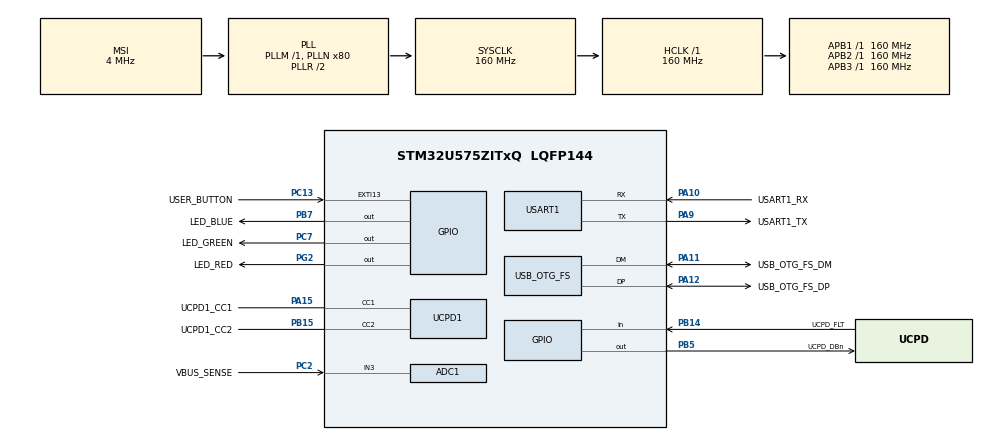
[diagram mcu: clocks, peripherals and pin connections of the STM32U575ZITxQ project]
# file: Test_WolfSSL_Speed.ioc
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ADC1.NbrOfConversion=1
ADC1.Resolution=ADC_RESOLUTION_14B
ADC1.master=1
CORTEX_M33_NS.userName=CORTEX_M33
Mcu.Family=STM32U5
Mcu.Name=STM32U575ZITxQ
Mcu.Package=LQFP144
NVIC.OTG_FS_IRQn=true\:0\:0\:false\:false\:true\:true\:true\:true
NVIC.PriorityGroup=NVIC_PRIORITYGROUP_3
NVIC.RNG_IRQn=true\:0\:0\:false\:false\:true\:true\:true\:true
NVIC.TIM1_UP_IRQn=true\:7\:0\:false\:false\:true\:false\:true\:true
NVIC.TimeBase=TIM1_UP_IRQn
NVIC.TimeBaseIP=TIM1
NVIC.USART1_IRQn=true\:0\:0\:false\:false\:true\:true\:true\:true
PA10.GPIO_Label=USART1_RX
PA10.GPIO_PuPd=GPIO_PULLDOWN
PA10.GPIO_Speed=GPIO_SPEED_FREQ_VERY_HIGH
PA10.Mode=Asynchronous
PA10.Signal=USART1_RX
PA11.GPIO_Label=USB_OTG_FS_DM
PA11.GPIO_Speed=GPIO_SPEED_FREQ_VERY_HIGH
PA11.Mode=Device_Only
PA11.Signal=USB_OTG_FS_DM
PA12.GPIO_Label=USB_OTG_FS_DP
PA12.GPIO_Speed=GPIO_SPEED_FREQ_VERY_HIGH
PA12.Mode=Device_Only
PA12.Signal=USB_OTG_FS_DP
PA13\ (JTMS/SWDIO).Mode=Trace_Asynchronous_SW
PA13\ (JTMS/SWDIO).Signal=DEBUG_JTMS-SWDIO
PA14\ (JTCK/SWCLK).Mode=Trace_Asynchronous_SW
PA14\ (JTCK/SWCLK).Signal=DEBUG_JTCK-SWCLK
PA15\ (JTDI).GPIO_Label=UCPD1_CC1
PA15\ (JTDI).Mode=Sink_AllSignals
PA15\ (JTDI).Signal=UCPD1_CC1
PA9.GPIO_Label=USART1_TX
PA9.GPIO_PuPd=GPIO_PULLDOWN
PA9.GPIO_Speed=GPIO_SPEED_FREQ_VERY_HIGH
PA9.Mode=Asynchronous
PA9.Signal=USART1_TX
PB14.GPIO_Label=UCPD_FLT
PB14.Signal=GPIO_Input
PB15.GPIO_Label=UCPD1_CC2
PB15.Mode=Sink_AllSignals
PB15.Signal=UCPD1_CC2
PB3\ (JTDO/TRACESWO).Mode=Trace_Asynchronous_SW
PB3\ (JTDO/TRACESWO).Signal=DEBUG_JTDO-SWO
PB5.GPIO_Label=UCPD_DBn
PB5.Signal=GPIO_Output
PB7.GPIO_Label=LED_BLUE
PB7.GPIO_ModeDefaultOutputPP=GPIO_MODE_OUTPUT_PP
PB7.GPIO_PuPd=GPIO_PULLUP
PB7.GPIO_Speed=GPIO_SPEED_FREQ_HIGH
PB7.Signal=GPIO_Output
PC13.GPIO_Label=USER_BUTTON
PC13.GPIO_ModeDefaultEXTI=GPIO_MODE_IT_FALLING
PC13.Signal=GPXTI13
PC14-OSC32_IN\ (PC14).Mode=LSE-External-Oscillator
PC14-OSC32_IN\ (PC14).Signal=RCC_OSC32_IN
PC15-OSC32_OUT\ (PC15).Mode=LSE-External-Oscillator
PC15-OSC32_OUT\ (PC15).Signal=RCC_OSC32_OUT
PC2.GPIO_Label=VBUS_SENSE
PC2.Mode=IN3-Single-Ended
PC2.Signal=ADC1_IN3
PC7.GPIO_Label=LED_GREEN
PC7.GPIO_PuPd=GPIO_PULLUP
PC7.GPIO_Speed=GPIO_SPEED_FREQ_HIGH
PC7.Signal=GPIO_Output
PG2.GPIO_Label=LED_RED
PG2.GPIO_ModeDefaultOutputPP=GPIO_MODE_OUTPUT_PP
PG2.GPIO_PuPd=GPIO_PULLUP
PG2.GPIO_Speed=GPIO_SPEED_FREQ_HIGH
PG2.Signal=GPIO_Output
PWR.PowerMode=PWR_SMPS_SUPPLY
ProjectManager.HeapSize=0x200
ProjectManager.StackSize=0x400
ProjectManager.TargetToolchain=STM32CubeIDE
RCC.ADCFreq_Value=16000000
RCC.AHBFreq_Value=160000000
RCC.APB1Freq_Value=160000000
RCC.APB1TimFreq_Value=160000000
RCC.APB2Freq_Value=160000000
RCC.APB2TimFreq_Value=160000000
RCC.APB3Freq_Value=160000000
RCC.CortexFreq_Value=160000000
RCC.DACCLockSelectionVirtual=RCC_DAC1CLKSOURCE_LSI
RCC.EPOD_VALUE=4000000
RCC.HCLKFreq_Value=160000000
RCC.HSE_VALUE=16000000
RCC.HSI48_VALUE=48000000
RCC.HSI_VALUE=16000000
RCC.LSIDIV_VALUE=32000
RCC.MSI_VALUE=4000000
RCC.PLLN=80
RCC.SYSCLKFreq_VALUE=160000000
RCC.SYSCLKSource=RCC_SYSCLKSOURCE_PLLCLK
RCC.USBFreq_Value=48000000
RCC.VCOOutputFreq_Value=320000000
USART1.VirtualMode-Asynchronous=VM_ASYNC
USB_OTG_FS.VirtualMode=Device_Only
VP_ICACHE_VS_ENABLE_ICACHE_MEMORY.Mode=Memoryregions
VP_ICACHE_VS_ICACHE.Mode=DirectMappedCache
VP_LPBAMQUEUE_VS_QUEUE.Mode=QUEUEMODE
VP_LPBAM_VS_SIG1.Mode=SmartRun
VP_LPBAM_VS_SIG4.Mode=LPDMA1
VP_MEMORYMAP_VS_MEMORYMAP.Mode=CurAppReg
VP_PWR_VS_DBSignals.Mode=DisableDeadBatterySignals
VP_PWR_VS_LPOM.Mode=PowerOptimisation
VP_PWR_VS_SECSignals.Mode=Security/Privilege
VP_PWR_Vdda.Mode=isolationVdda
VP_RNG_VS_RNG.Mode=RNG_Activate
VP_RTC_VS_RTC_Activate.Mode=RTC_Enabled
VP_SYS_VS_tim1.Mode=TIM1
VP_wolfSSL.I-CUBE-wolfSSL_VS_wolfSSLJjwolfSSL_5.7.2_5.7.2.Mode=wolfSSLJjwolfSSL
board=NUCLEO-U575ZI-Q
wolfSSL.I-CUBE-wolfSSL.5.7.2.WOLF_CONF_MATH=4
wolfSSL.I-CUBE-wolfSSL.5.7.2.WOLF_CONF_RTOS=2
wolfSSL.I-CUBE-wolfSSL.5.7.2.wolfSSLCcwolfSSLJjwolfCryptJjCore=true
wolfSSL.I-CUBE-wolfSSL.5.7.2.wolfSSLCcwolfSSLJjwolfCryptJjTest=true
wolfSSL.I-CUBE-wolfSSL.5.7.2.wolfSSLCcwolfSSLJjwolfSSLJjCore=true

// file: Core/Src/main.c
/* USER CODE BEGIN Header */
/**
  ******************************************************************************
  * @file           : main.c
  * @brief          : Main program body
  ******************************************************************************
  * @attention
  *
  * Copyright (c) 2024 STMicroelectronics.
  * All rights reserved.
  *
  * This software is licensed under terms that can be found in the LICENSE file
  * in the root directory of this software component.
  * If no LICENSE file comes with this software, it is provided AS-IS.
  *
  ******************************************************************************
  */
/* USER CODE END Header */
#include "main.h"

/* USER CODE BEGIN Includes */
#include <stdio.h>
#include <stdlib.h>
#include <string.h>
#include "wolfssl/options.h"
#include "wolfssl/wolfcrypt/rsa.h"
#include "wolfssl/wolfcrypt/random.h"
#include "wolfssl/wolfcrypt/error-crypt.h"
#include <wolfssl/wolfcrypt/ed25519.h>
/* USER CODE END Includes */

ADC_HandleTypeDef hadc1;

RNG_HandleTypeDef hrng;

RTC_HandleTypeDef hrtc;

UART_HandleTypeDef huart1;

PCD_HandleTypeDef hpcd_USB_OTG_FS;

/* USER CODE BEGIN PV */
RsaKey rsaKey;
byte publicKeyDer[4096];
byte privateKeyDer[4096];
word32 publicKeyDerSz;
word32 privateKeyDerSz;
WC_RNG rng;

ed25519_key ed25519Key;
unsigned char edPubKey[ED25519_PUB_KEY_SIZE];
unsigned char edPrivKey[ED25519_PRV_KEY_SIZE];
word32 edPubKeySz = sizeof(edPubKey);
word32 edPrivKeySz = sizeof(edPrivKey);
/* USER CODE END PV */

void SystemClock_Config(void);
static void SystemPower_Config(void);
static void MX_GPIO_Init(void);
static void MX_ADC1_Init(void);
static void MX_ICACHE_Init(void);
static void MX_UCPD1_Init(void);
static void MX_USART1_UART_Init(void);
static void MX_USB_OTG_FS_PCD_Init(void);
static void MX_RNG_Init(void);
static void MX_RTC_Init(void);
/* USER CODE BEGIN PFP */
int generate_ed25519_key(void);
void send_message(const char *msg);
int init_rng();
int generate_rsa_key();
int rsa_encrypt(byte* input, word32 inputSz, byte* output, word32* outputSz);
int rsa_decrypt(byte* input, word32 inputSz, byte* output, word32* outputSz);
void print_hex(const unsigned char* data, size_t len);

/* Retargets the C library printf function to the USART. */
#include <stdio.h>
#ifdef __GNUC__
int __io_putchar(int ch)
#else
int fputc(int ch, FILE *f)
#endif
{
    HAL_UART_Transmit(&huart1, (uint8_t *)&ch, 1, 0xFFFF);

    return ch;
}
#ifdef __GNUC__
int _write(int file,char *ptr, int len)
{
    int DataIdx;
    for (DataIdx= 0; DataIdx< len; DataIdx++) {
        __io_putchar(*ptr++);
    }
    return len;
}
#endif

/* USER CODE END PFP */

/* USER CODE BEGIN 0 */
int generate_ed25519_key() {
	int ret;

	ret = wc_ed25519_init(&ed25519Key);
	if (ret != 0) {
		printf("wc_ed25519_init failed with error: %d\r\n", ret);
	    return ret;
	}

	/* Generating ED25519 key*/
	ret = wc_ed25519_make_key(&rng, ED25519_KEY_SIZE, &ed25519Key);
	if (ret != 0) {
		printf("wc_ed25519_make_key failed with error: %d\r\n", ret);
		wc_ed25519_free(&ed25519Key);
		return ret;
	}

	/* Extracting public key */
	ret = wc_ed25519_export_public(&ed25519Key, edPubKey, &edPubKeySz);
	if (ret != 0) {
		printf("wc_ed25519_export_public failed with error: %d\r\n", ret);
		wc_ed25519_free(&ed25519Key);
		return ret;
	}
	printf("Public Key: ");
	print_hex(edPubKey, edPubKeySz);

	/* Estrae e stampa la chiave privata */
	ret = wc_ed25519_export_private_only(&ed25519Key, edPrivKey, &edPrivKeySz);
	if (ret != 0) {
		printf("wc_ed25519_export_private_only failed with error: %d\r\n", ret);
		wc_ed25519_free(&ed25519Key);
		return ret;
	}
	printf("Private Key: ");
	print_hex(edPrivKey, edPrivKeySz);

	printf("ED25519 Key Pair generated successfully.\r\n");

	/* RELEASING RESOURCES */
	wc_ed25519_free(&ed25519Key);

	return 0;

}

int rsa_encrypt(byte* input, word32 inputSz, byte* output, word32* outputSz) {
	int ret;
	RsaKey publicKey;
	word32 idx = 0;

	/* INITIALIZING RSA PUBLIC KEY */
	wc_InitRsaKey(&publicKey, NULL);

	/* DECODING PUBLIC KEY */
	ret = wc_RsaPublicKeyDecode(publicKeyDer, &idx, &publicKey, publicKeyDerSz);
	if (ret != 0) {
		send_message("There was an error in decoding Rsa Public Key\r\n");
		return ret;
	} else {
		send_message("Rsa Public Key successfully decoded\r\n");
	}

	/* ENCRYPTING DATA */

	ret = wc_RsaPublicEncrypt(input, inputSz, output, *outputSz, &publicKey, &rng);
	if (ret < 0) {
		send_message("There was an error in encrypting the plaintext\r\n");
		return ret;
	} else {
		send_message("Plaintext has been successfully encrypted\r\n");
	}

	*outputSz = ret;

	/* RELEASING RESOURCES */
	wc_FreeRsaKey(&publicKey);

	return ret;
}

int rsa_decrypt(byte* input, word32 inputSz, byte* output, word32* outputSz) {
	int ret;
	RsaKey privateKey;
	word32 idx = 0;

	/* INITIALIZING RSA PRIVATE KEY */
	wc_InitRsaKey(&privateKey, NULL);

	/* DECODING PUBLIC KEY */
	ret = wc_RsaPrivateKeyDecode(privateKeyDer, &idx, &privateKey, privateKeyDerSz);
	if (ret != 0) {
			send_message("There was an error in decoding Rsa Private Key\r\n");
			return ret;
	} else {
			send_message("Rsa Private Key successfully decoded\r\n");
	}

	/* DECRYPTING DATA */
	wc_RsaSetRNG(&privateKey, &rng);
	ret = wc_RsaPrivateDecrypt(input, inputSz, output, *outputSz, &privateKey);
	if (ret < 0) {
		send_message("There was an error in decrypting the ciphertext\r\n");
		return ret;
	} else {
		send_message("Ciphertext has been successfully decrypted\r\n");
	}

	*outputSz = ret;
	/* RELEASING RESOURCES */
	wc_FreeRsaKey(&privateKey);

	return ret;
}

int generate_rsa_key() {
	int ret;
	long e = 65537;

	// RsaKey initialization
	wc_InitRsaKey(&rsaKey, NULL);

	// generate 2048 bit long private key
	ret = wc_MakeRsaKey(&rsaKey, 2048, e, &rng);
	if( ret != 0 ) {
		  send_message("There was an error in making RSA key\r\n");
	} else {
		  send_message("Your RSA key has been generated!\r\n");
	}

	/* SAVING KEY IN DER FORMAT */
	 privateKeyDerSz = sizeof(privateKeyDer);
	 ret = wc_RsaKeyToDer(&rsaKey, privateKeyDer, privateKeyDerSz);
	 if (ret < 0) {
		 send_message("There was an error in saving RsaKey to DER format\r\n");
		 return ret;
	 } else {
		 send_message("RsaKey successfully saved as DER\r\n");
	 }

	 privateKeyDerSz = ret; // actual size of the key

	 /* EXTRACTING PUBLIC KEY */
	 publicKeyDerSz = sizeof(publicKeyDer);
	 ret = wc_RsaKeyToPublicDer(&rsaKey, publicKeyDer, publicKeyDerSz);
	 if (ret < 0) {
		 send_message("There was an error in extracting public RsaKey\r\n");
		 return ret;
	 } else {
		 send_message("Rsa Public Key successfully extracted\r\n");
	 }

	 publicKeyDerSz = ret;	// actual size of the key
	 printf("RSA PUBLIC KEY:\r\n");
	 print_hex(publicKeyDer, publicKeyDerSz);
//	 for (int i=0; i < publicKeyDerSz; i++) {
//		 printf("%02x", publicKeyDer[i]);
//	 }
//	 printf("\r\n");
	 printf("RSA PRIVATE KEY:\r\n");
	 print_hex(privateKeyDer, privateKeyDerSz);
//	 for (int i=0; i < privateKeyDerSz; i++) {
//	 	 printf("%02x", privateKeyDer[i]);
//	 }
//	 printf("\r\n");

	 return ret;
}

int init_rng() {
	int to_return;
	to_return = wc_InitRng(&rng);
	if (to_return != 0) {
		printf("There was an error in initializing RNG\r\n");
		return to_return;
	} else {
		printf("RNG successfully initialized\r\n");
	}
	return to_return;
}

void send_message(const char *msg) {
	HAL_UART_Transmit(&huart1, (uint8_t *) msg, strlen(msg), HAL_MAX_DELAY);
}

void print_hex(const unsigned char* data, size_t len) {
    for (size_t i = 0; i < len; i++) {
        printf("%02x", data[i]);
    }
    printf("\r\n");
}
/* USER CODE END 0 */

int main(void)
{

  /* USER CODE BEGIN 1 */
	/* Turn off buffers, so I/O occurs immediately */
	    setvbuf(stdin, NULL, _IONBF, 0);
	    setvbuf(stdout, NULL, _IONBF, 0);
	    setvbuf(stderr, NULL, _IONBF, 0);
	/*--------------------*/
	    int ret;
	    byte plaintext[] = "Test encryption data";
	    byte encrypted[256];
	    word32 encryptedSz = sizeof(encrypted);
	    byte decrypted[256];
	    word32 decryptedSz = sizeof(decrypted);

  /* USER CODE END 1 */

  /* MCU Configuration--------------------------------------------------------*/

  /* Reset of all peripherals, Initializes the Flash interface and the Systick. */
  HAL_Init();

  /* Configure the system clock */
  SystemClock_Config();

  /* Configure the System Power */
  SystemPower_Config();

  /* Initialize all configured peripherals */
  MX_GPIO_Init();
  MX_ADC1_Init();
  MX_ICACHE_Init();
  MX_UCPD1_Init();
  MX_USART1_UART_Init();
  MX_USB_OTG_FS_PCD_Init();
  MX_RNG_Init();
  MX_RTC_Init();
  /* USER CODE BEGIN 2 */
  printf("Welcome!\r\n");
//  int to_print = 3;
//  printf("Just testing out printf: %d\r\n", to_print);

    /* INITIALIZING RNG */
  printf("Initializing RNG...\r\n");
    ret = init_rng();
    if (ret != 0) {
  	  return ret;
    }

    /* GENERATING ED25519 KEY */
    generate_ed25519_key();
    /* GENERATING RSA KEY */
    send_message("Generating RSA Key...\r\n");
    generate_rsa_key();

    /* ENCRYPTING */
    ret = rsa_encrypt(plaintext, sizeof(plaintext), encrypted, &encryptedSz);
    if (ret < 0) {
  	  printf("There was an error in encrypting the plaintext\r\n");
  	  return ret;
    } else {
  	  printf("Successfully encrypted your text!\r\n");
  	  printf("CIPHERTEXT:\r\n");
  	  print_hex(encrypted, encryptedSz);
  	  printf("\r\n");
    }

    /* DECRYPTING */
    ret = rsa_decrypt(encrypted, encryptedSz, decrypted, &decryptedSz);
    printf("PLAINTEXT:\r\n");
    printf("%s", decrypted);
    printf("\r\n");
  /* USER CODE END 2 */

  /* Infinite loop */
  while (1)
  {

  }
}

void SystemClock_Config(void)
{
  RCC_OscInitTypeDef RCC_OscInitStruct = {0};
  RCC_ClkInitTypeDef RCC_ClkInitStruct = {0};

  /** Configure the main internal regulator output voltage
  */
  if (HAL_PWREx_ControlVoltageScaling(PWR_REGULATOR_VOLTAGE_SCALE1) != HAL_OK)
  {
    Error_Handler();
  }

  /** Initializes the CPU, AHB and APB buses clocks
  */
  RCC_OscInitStruct.OscillatorType = RCC_OSCILLATORTYPE_HSI48|RCC_OSCILLATORTYPE_HSI
                              |RCC_OSCILLATORTYPE_LSI|RCC_OSCILLATORTYPE_MSI;
  RCC_OscInitStruct.HSIState = RCC_HSI_ON;
  RCC_OscInitStruct.HSI48State = RCC_HSI48_ON;
  RCC_OscInitStruct.HSICalibrationValue = RCC_HSICALIBRATION_DEFAULT;
  RCC_OscInitStruct.LSIState = RCC_LSI_ON;
  RCC_OscInitStruct.MSIState = RCC_MSI_ON;
  RCC_OscInitStruct.MSICalibrationValue = RCC_MSICALIBRATION_DEFAULT;
  RCC_OscInitStruct.MSIClockRange = RCC_MSIRANGE_4;
  RCC_OscInitStruct.LSIDiv = RCC_LSI_DIV1;
  RCC_OscInitStruct.PLL.PLLState = RCC_PLL_ON;
  RCC_OscInitStruct.PLL.PLLSource = RCC_PLLSOURCE_MSI;
  RCC_OscInitStruct.PLL.PLLMBOOST = RCC_PLLMBOOST_DIV1;
  RCC_OscInitStruct.PLL.PLLM = 1;
  RCC_OscInitStruct.PLL.PLLN = 80;
  RCC_OscInitStruct.PLL.PLLP = 2;
  RCC_OscInitStruct.PLL.PLLQ = 2;
  RCC_OscInitStruct.PLL.PLLR = 2;
  RCC_OscInitStruct.PLL.PLLRGE = RCC_PLLVCIRANGE_0;
  RCC_OscInitStruct.PLL.PLLFRACN = 0;
  if (HAL_RCC_OscConfig(&RCC_OscInitStruct) != HAL_OK)
  {
    Error_Handler();
  }

  /** Initializes the CPU, AHB and APB buses clocks
  */
  RCC_ClkInitStruct.ClockType = RCC_CLOCKTYPE_HCLK|RCC_CLOCKTYPE_SYSCLK
                              |RCC_CLOCKTYPE_PCLK1|RCC_CLOCKTYPE_PCLK2
                              |RCC_CLOCKTYPE_PCLK3;
  RCC_ClkInitStruct.SYSCLKSource = RCC_SYSCLKSOURCE_PLLCLK;
  RCC_ClkInitStruct.AHBCLKDivider = RCC_SYSCLK_DIV1;
  RCC_ClkInitStruct.APB1CLKDivider = RCC_HCLK_DIV1;
  RCC_ClkInitStruct.APB2CLKDivider = RCC_HCLK_DIV1;
  RCC_ClkInitStruct.APB3CLKDivider = RCC_HCLK_DIV1;

  if (HAL_RCC_ClockConfig(&RCC_ClkInitStruct, FLASH_LATENCY_4) != HAL_OK)
  {
    Error_Handler();
  }
}

/**
  * @brief Power Configuration
  * @retval None
  */
static void SystemPower_Config(void)
{
  HAL_PWREx_EnableVddIO2();

  /*
   * Switch to SMPS regulator instead of LDO
   */
  if (HAL_PWREx_ConfigSupply(PWR_SMPS_SUPPLY) != HAL_OK)
  {
    Error_Handler();
  }
}

static void MX_ADC1_Init(void)
{

  /** Common config
  */
  hadc1.Instance = ADC1;
  hadc1.Init.ClockPrescaler = ADC_CLOCK_ASYNC_DIV1;
  hadc1.Init.Resolution = ADC_RESOLUTION_14B;
  hadc1.Init.GainCompensation = 0;
  hadc1.Init.ScanConvMode = ADC_SCAN_DISABLE;
  hadc1.Init.EOCSelection = ADC_EOC_SINGLE_CONV;
  hadc1.Init.LowPowerAutoWait = DISABLE;
  hadc1.Init.ContinuousConvMode = DISABLE;
  hadc1.Init.NbrOfConversion = 1;
  hadc1.Init.DiscontinuousConvMode = DISABLE;
  hadc1.Init.DMAContinuousRequests = DISABLE;
  hadc1.Init.TriggerFrequencyMode = ADC_TRIGGER_FREQ_HIGH;
  hadc1.Init.Overrun = ADC_OVR_DATA_PRESERVED;
  hadc1.Init.LeftBitShift = ADC_LEFTBITSHIFT_NONE;
  hadc1.Init.ConversionDataManagement = ADC_CONVERSIONDATA_DR;
  hadc1.Init.OversamplingMode = DISABLE;
  if (HAL_ADC_Init(&hadc1) != HAL_OK)
  {
    Error_Handler();
  }

}

static void MX_ICACHE_Init(void)
{

  /** Enable instruction cache in 1-way (direct mapped cache)
  */
  if (HAL_ICACHE_ConfigAssociativityMode(ICACHE_1WAY) != HAL_OK)
  {
    Error_Handler();
  }
  if (HAL_ICACHE_Enable() != HAL_OK)
  {
    Error_Handler();
  }

}

static void MX_RNG_Init(void)
{

  hrng.Instance = RNG;
  hrng.Init.ClockErrorDetection = RNG_CED_ENABLE;
  if (HAL_RNG_Init(&hrng) != HAL_OK)
  {
    Error_Handler();
  }

}

static void MX_RTC_Init(void)
{

  RTC_PrivilegeStateTypeDef privilegeState = {0};

  /** Initialize RTC Only
  */
  hrtc.Instance = RTC;
  hrtc.Init.HourFormat = RTC_HOURFORMAT_24;
  hrtc.Init.AsynchPrediv = 127;
  hrtc.Init.SynchPrediv = 255;
  hrtc.Init.OutPut = RTC_OUTPUT_DISABLE;
  hrtc.Init.OutPutRemap = RTC_OUTPUT_REMAP_NONE;
  hrtc.Init.OutPutPolarity = RTC_OUTPUT_POLARITY_HIGH;
  hrtc.Init.OutPutType = RTC_OUTPUT_TYPE_OPENDRAIN;
  hrtc.Init.OutPutPullUp = RTC_OUTPUT_PULLUP_NONE;
  hrtc.Init.BinMode = RTC_BINARY_NONE;
  if (HAL_RTC_Init(&hrtc) != HAL_OK)
  {
    Error_Handler();
  }
  privilegeState.rtcPrivilegeFull = RTC_PRIVILEGE_FULL_NO;
  privilegeState.backupRegisterPrivZone = RTC_PRIVILEGE_BKUP_ZONE_NONE;
  privilegeState.backupRegisterStartZone2 = RTC_BKP_DR0;
  privilegeState.backupRegisterStartZone3 = RTC_BKP_DR0;
  if (HAL_RTCEx_PrivilegeModeSet(&hrtc, &privilegeState) != HAL_OK)
  {
    Error_Handler();
  }

}

static void MX_UCPD1_Init(void)
{

  LL_GPIO_InitTypeDef GPIO_InitStruct = {0};

  /* Peripheral clock enable */
  LL_APB1_GRP2_EnableClock(LL_APB1_GRP2_PERIPH_UCPD1);

  LL_AHB2_GRP1_EnableClock(LL_AHB2_GRP1_PERIPH_GPIOB);
  LL_AHB2_GRP1_EnableClock(LL_AHB2_GRP1_PERIPH_GPIOA);
  /**UCPD1 GPIO Configuration
  PB15   ------> UCPD1_CC2
  PA15 (JTDI)   ------> UCPD1_CC1
  */
  GPIO_InitStruct.Pin = LL_GPIO_PIN_15;
  GPIO_InitStruct.Mode = LL_GPIO_MODE_ANALOG;
  GPIO_InitStruct.Pull = LL_GPIO_PULL_NO;
  LL_GPIO_Init(GPIOB, &GPIO_InitStruct);

  GPIO_InitStruct.Pin = LL_GPIO_PIN_15;
  GPIO_InitStruct.Mode = LL_GPIO_MODE_ANALOG;
  GPIO_InitStruct.Pull = LL_GPIO_PULL_NO;
  LL_GPIO_Init(GPIOA, &GPIO_InitStruct);

}

static void MX_USART1_UART_Init(void)
{

  huart1.Instance = USART1;
  huart1.Init.BaudRate = 115200;
  huart1.Init.WordLength = UART_WORDLENGTH_8B;
  huart1.Init.StopBits = UART_STOPBITS_1;
  huart1.Init.Parity = UART_PARITY_NONE;
  huart1.Init.Mode = UART_MODE_TX_RX;
  huart1.Init.HwFlowCtl = UART_HWCONTROL_NONE;
  huart1.Init.OverSampling = UART_OVERSAMPLING_16;
  huart1.Init.OneBitSampling = UART_ONE_BIT_SAMPLE_DISABLE;
  huart1.Init.ClockPrescaler = UART_PRESCALER_DIV1;
  huart1.AdvancedInit.AdvFeatureInit = UART_ADVFEATURE_NO_INIT;
  if (HAL_UART_Init(&huart1) != HAL_OK)
  {
    Error_Handler();
  }
  if (HAL_UARTEx_SetTxFifoThreshold(&huart1, UART_TXFIFO_THRESHOLD_1_8) != HAL_OK)
  {
    Error_Handler();
  }
  if (HAL_UARTEx_SetRxFifoThreshold(&huart1, UART_RXFIFO_THRESHOLD_1_8) != HAL_OK)
  {
    Error_Handler();
  }
  if (HAL_UARTEx_DisableFifoMode(&huart1) != HAL_OK)
  {
    Error_Handler();
  }

}

static void MX_USB_OTG_FS_PCD_Init(void)
{

  hpcd_USB_OTG_FS.Instance = USB_OTG_FS;
  hpcd_USB_OTG_FS.Init.dev_endpoints = 6;
  hpcd_USB_OTG_FS.Init.speed = PCD_SPEED_FULL;
  hpcd_USB_OTG_FS.Init.phy_itface = PCD_PHY_EMBEDDED;
  hpcd_USB_OTG_FS.Init.Sof_enable = DISABLE;
  hpcd_USB_OTG_FS.Init.low_power_enable = DISABLE;
  hpcd_USB_OTG_FS.Init.lpm_enable = DISABLE;
  hpcd_USB_OTG_FS.Init.battery_charging_enable = DISABLE;
  hpcd_USB_OTG_FS.Init.use_dedicated_ep1 = DISABLE;
  hpcd_USB_OTG_FS.Init.vbus_sensing_enable = DISABLE;
  hpcd_USB_OTG_FS.Init.dma_enable = DISABLE;
  if (HAL_PCD_Init(&hpcd_USB_OTG_FS) != HAL_OK)
  {
    Error_Handler();
  }

}

static void MX_GPIO_Init(void)
{
  GPIO_InitTypeDef GPIO_InitStruct = {0};

  /* GPIO Ports Clock Enable */
  __HAL_RCC_GPIOC_CLK_ENABLE();
  __HAL_RCC_GPIOB_CLK_ENABLE();
  __HAL_RCC_GPIOG_CLK_ENABLE();
  __HAL_RCC_GPIOA_CLK_ENABLE();

  /*Configure GPIO pin Output Level */
  HAL_GPIO_WritePin(LED_RED_GPIO_Port, LED_RED_Pin, GPIO_PIN_RESET);

  /*Configure GPIO pin Output Level */
  HAL_GPIO_WritePin(LED_GREEN_GPIO_Port, LED_GREEN_Pin, GPIO_PIN_RESET);

  /*Configure GPIO pin Output Level */
  HAL_GPIO_WritePin(GPIOB, UCPD_DBn_Pin|LED_BLUE_Pin, GPIO_PIN_RESET);

  /*Configure GPIO pin : USER_BUTTON_Pin */
  GPIO_InitStruct.Pin = USER_BUTTON_Pin;
  GPIO_InitStruct.Mode = GPIO_MODE_IT_FALLING;
  GPIO_InitStruct.Pull = GPIO_NOPULL;
  HAL_GPIO_Init(USER_BUTTON_GPIO_Port, &GPIO_InitStruct);

  /*Configure GPIO pin : UCPD_FLT_Pin */
  GPIO_InitStruct.Pin = UCPD_FLT_Pin;
  GPIO_InitStruct.Mode = GPIO_MODE_INPUT;
  GPIO_InitStruct.Pull = GPIO_NOPULL;
  HAL_GPIO_Init(UCPD_FLT_GPIO_Port, &GPIO_InitStruct);

  /*Configure GPIO pin : LED_RED_Pin */
  GPIO_InitStruct.Pin = LED_RED_Pin;
  GPIO_InitStruct.Mode = GPIO_MODE_OUTPUT_PP;
  GPIO_InitStruct.Pull = GPIO_PULLUP;
  GPIO_InitStruct.Speed = GPIO_SPEED_FREQ_HIGH;
  HAL_GPIO_Init(LED_RED_GPIO_Port, &GPIO_InitStruct);

  /*Configure GPIO pin : LED_GREEN_Pin */
  GPIO_InitStruct.Pin = LED_GREEN_Pin;
  GPIO_InitStruct.Mode = GPIO_MODE_OUTPUT_PP;
  GPIO_InitStruct.Pull = GPIO_PULLUP;
  GPIO_InitStruct.Speed = GPIO_SPEED_FREQ_HIGH;
  HAL_GPIO_Init(LED_GREEN_GPIO_Port, &GPIO_InitStruct);

  /*Configure GPIO pin : UCPD_DBn_Pin */
  GPIO_InitStruct.Pin = UCPD_DBn_Pin;
  GPIO_InitStruct.Mode = GPIO_MODE_OUTPUT_PP;
  GPIO_InitStruct.Pull = GPIO_NOPULL;
  GPIO_InitStruct.Speed = GPIO_SPEED_FREQ_LOW;
  HAL_GPIO_Init(UCPD_DBn_GPIO_Port, &GPIO_InitStruct);

  /*Configure GPIO pin : LED_BLUE_Pin */
  GPIO_InitStruct.Pin = LED_BLUE_Pin;
  GPIO_InitStruct.Mode = GPIO_MODE_OUTPUT_PP;
  GPIO_InitStruct.Pull = GPIO_PULLUP;
  GPIO_InitStruct.Speed = GPIO_SPEED_FREQ_HIGH;
  HAL_GPIO_Init(LED_BLUE_GPIO_Port, &GPIO_InitStruct);

}

void HAL_TIM_PeriodElapsedCallback(TIM_HandleTypeDef *htim)
{
  if (htim->Instance == TIM1) {
    HAL_IncTick();
  }
}

void Error_Handler(void)
{
  __disable_irq();
  while (1)
  {
  }
}
